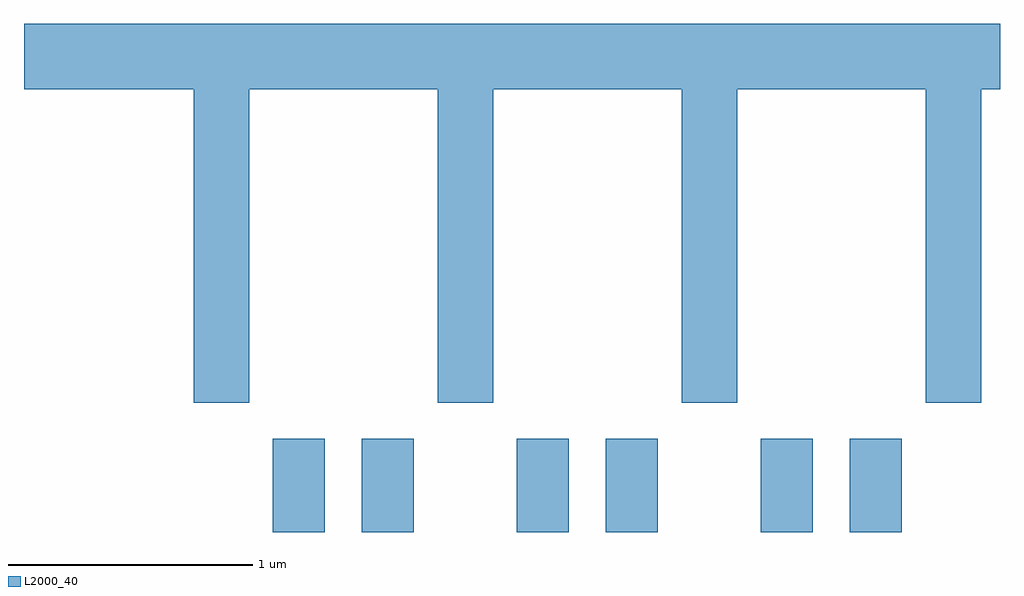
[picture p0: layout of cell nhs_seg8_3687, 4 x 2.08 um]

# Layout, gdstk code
import gdstk
lib = gdstk.Library(unit=1e-6, precision=1e-09)
def R(c, l, rs):  # rectangles x0, y0, x1, y1
    for r in rs: c.add(gdstk.rectangle(r[:2], r[2:], *l))
def P(c, l, *ps):  # polygons
    for p in ps: c.add(gdstk.Polygon(p, *l))
L2000_40 = (2000, 40)

nhs_seg8_3687 = lib.new_cell('nhs_seg8_3687')
R(nhs_seg8_3687, L2000_40, [(296.631,1872.342,296.844,1872.724), (296.996,1872.342,297.209,1872.724), (297.631,1872.342,297.844,1872.724), (297.996,1872.342,298.209,1872.724), (298.631,1872.342,298.844,1872.724), (298.996,1872.342,299.209,1872.724)])
P(nhs_seg8_3687, L2000_40, [(296.534,1874.156),(297.306,1874.156),(297.306,1872.871),(297.534,1872.871),(297.534,1874.156),(298.306,1874.156),(298.306,1872.871),(298.534,1872.871),(298.534,1874.156),(299.306,1874.156),(299.306,1872.871),(299.534,1872.871),(299.534,1874.156),(299.611,1874.156),(299.611,1874.424),(295.611,1874.424),(295.611,1874.156),(296.306,1874.156),(296.306,1872.871),(296.534,1872.871)])

lib.write_gds('nhs_seg8_3687.gds')
